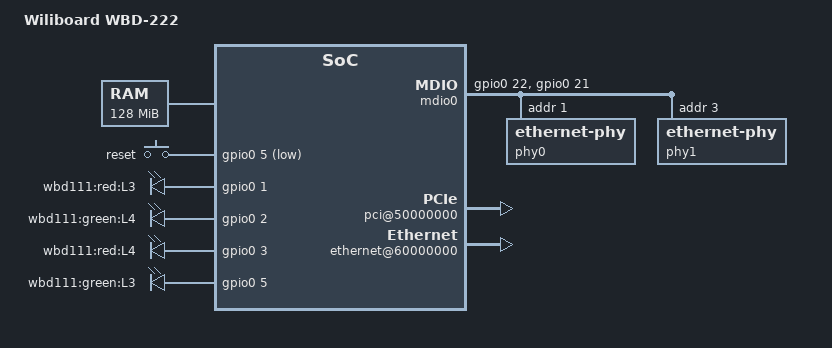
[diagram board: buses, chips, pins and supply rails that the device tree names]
// SPDX-License-Identifier: GPL-2.0
/*
 * Device Tree file for Wiliboard WBD-222
 */

/dts-v1/;

#include "gemini.dtsi"
#include <dt-bindings/input/input.h>

/ {
	model = "Wiliboard WBD-222";
	compatible = "wiliboard,wbd222", "cortina,gemini";
	#address-cells = <1>;
	#size-cells = <1>;

	memory { /* 128 MB */
		device_type = "memory";
		reg = <0x00000000 0x8000000>;
	};

	chosen {
		bootargs = "console=ttyS0,115200n8";
		stdout-path = &uart0;
	};

	gpio_keys {
		compatible = "gpio-keys";
		#address-cells = <1>;
		#size-cells = <0>;

		button@5 {
			debounce-interval = <50>;
			wakeup-source;
			linux,code = <KEY_SETUP>;
			label = "reset";
			/* Conflict with ICE */
			gpios = <&gpio0 5 GPIO_ACTIVE_LOW>;
		};
	};

	leds {
		compatible = "gpio-leds";

		led@1 {
			label = "wbd111:red:L3";
			/* Conflict with TVC and extended parallel flash */
			gpios = <&gpio0 1 GPIO_ACTIVE_HIGH>;
			default-state = "off";
		};
		led@2 {
			label = "wbd111:green:L4";
			/* Conflict with TVC and extended parallel flash */
			gpios = <&gpio0 2 GPIO_ACTIVE_HIGH>;
			default-state = "off";
		};
		led@3 {
			label = "wbd111:red:L4";
			/* Conflict with TVC and extended parallel flash */
			gpios = <&gpio0 3 GPIO_ACTIVE_HIGH>;
			default-state = "off";
		};
		led@5 {
			label = "wbd111:green:L3";
			/* Conflict with TVC and extended parallel flash */
			gpios = <&gpio0 5 GPIO_ACTIVE_HIGH>;
			default-state = "on";
			linux,default-trigger = "heartbeat";
		};
	};

	mdio0: ethernet-phy {
		compatible = "virtual,mdio-gpio";
		gpios = <&gpio0 22 GPIO_ACTIVE_HIGH>, /* MDC */
			<&gpio0 21 GPIO_ACTIVE_HIGH>; /* MDIO */
		#address-cells = <1>;
		#size-cells = <0>;

		phy0: ethernet-phy@1 {
			reg = <1>;
			device_type = "ethernet-phy";
		};

		phy1: ethernet-phy@3 {
			reg = <3>;
			device_type = "ethernet-phy";
		};
	};

	soc {
		flash@30000000 {
			status = "okay";
			/* 8MB of flash */
			reg = <0x30000000 0x00800000>;

			partition@0 {
				label = "RedBoot";
				reg = <0x00000000 0x00020000>;
				read-only;
			};
			partition@20000 {
				label = "kernel";
				reg = <0x00020000 0x00100000>;
			};
			partition@120000 {
				label = "rootfs";
				reg = <0x00120000 0x006a0000>;
			};
			partition@7c0000 {
				label = "VCTL";
				reg = <0x007c0000 0x00010000>;
				read-only;
			};
			partition@7d0000 {
				label = "cfg";
				reg = <0x007d0000 0x00010000>;
				read-only;
			};
			partition@7e0000 {
				label = "FIS";
				reg = <0x007e0000 0x00010000>;
				read-only;
			};
		};

		syscon: syscon@40000000 {
			pinctrl {
				/*
				 * gpio0agrp cover line 0-4
				 * gpio0bgrp cover line 5
				 */
				gpio0_default_pins: pinctrl-gpio0 {
					mux {
						function = "gpio0";
						groups = "gpio0agrp",
						"gpio0bgrp";
					};
				};
				pinctrl-gmii {
					/* This platform use both the ethernet ports */
					mux {
						function = "gmii";
						groups = "gmii_gmac0_grp", "gmii_gmac1_grp";
					};
				};
			};
		};

		gpio0: gpio@4d000000 {
			pinctrl-names = "default";
			pinctrl-0 = <&gpio0_default_pins>;
		};

		pci@50000000 {
			status = "okay";
			interrupt-map-mask = <0xf800 0 0 7>;
			interrupt-map =
				<0x4800 0 0 1 &pci_intc 0>, /* Slot 9 */
				<0x4800 0 0 2 &pci_intc 1>,
				<0x4800 0 0 3 &pci_intc 2>,
				<0x4800 0 0 4 &pci_intc 3>,
				<0x5000 0 0 1 &pci_intc 1>, /* Slot 10 */
				<0x5000 0 0 2 &pci_intc 2>,
				<0x5000 0 0 3 &pci_intc 3>,
				<0x5000 0 0 4 &pci_intc 0>,
				<0x5800 0 0 1 &pci_intc 2>, /* Slot 11 */
				<0x5800 0 0 2 &pci_intc 3>,
				<0x5800 0 0 3 &pci_intc 0>,
				<0x5800 0 0 4 &pci_intc 1>,
				<0x6000 0 0 1 &pci_intc 3>, /* Slot 12 */
				<0x6000 0 0 2 &pci_intc 0>,
				<0x6000 0 0 3 &pci_intc 1>,
				<0x6000 0 0 4 &pci_intc 2>;
		};

		ethernet@60000000 {
			status = "okay";

			ethernet-port@0 {
				phy-mode = "rgmii";
				phy-handle = <&phy0>;
			};
			ethernet-port@1 {
				phy-mode = "rgmii";
				phy-handle = <&phy1>;
			};
		};
	};
};
